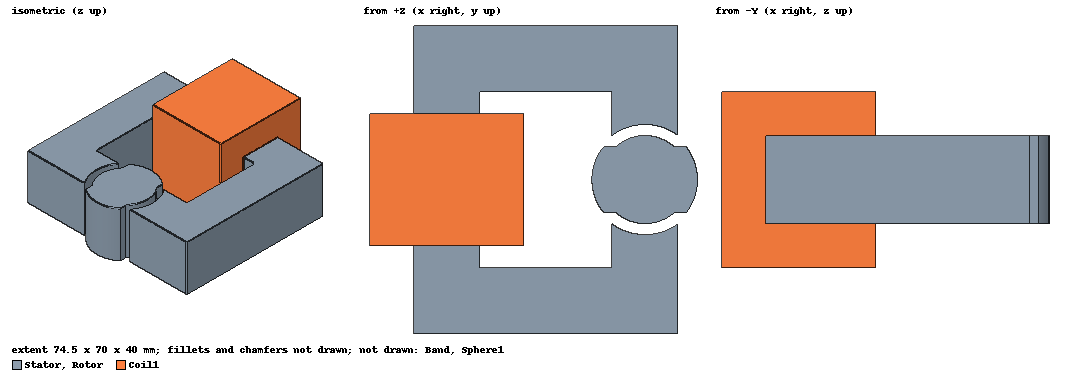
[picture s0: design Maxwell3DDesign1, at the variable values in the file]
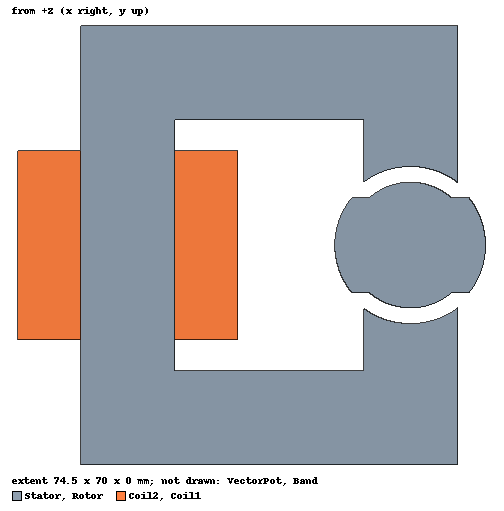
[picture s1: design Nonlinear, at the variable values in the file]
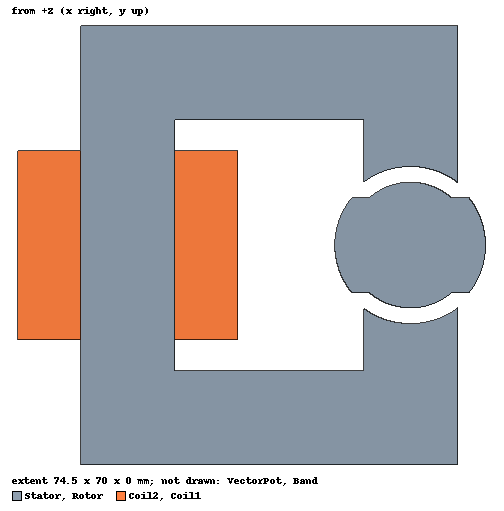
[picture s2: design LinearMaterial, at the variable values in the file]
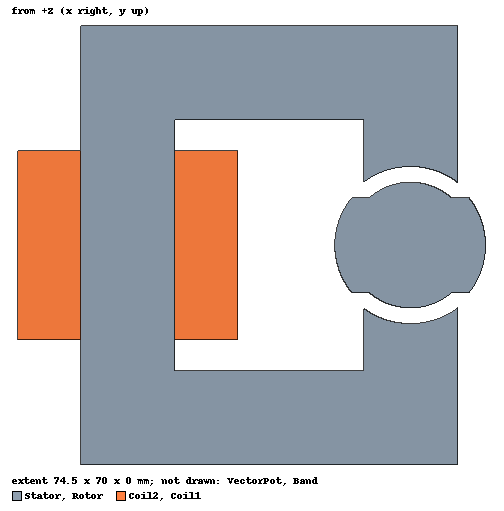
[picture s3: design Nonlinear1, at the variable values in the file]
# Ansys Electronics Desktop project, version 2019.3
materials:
  vacuum: permittivity=1
  copper: permeability=0.999991 conductivity=58000000
  m270-35a: permeability{HUnit=A_per_meter BUnit=tesla curve (0, 0) (30, 0.1) (39.6, 0.2) (46, 0.3) (52, 0.4) (58.2, 0.5) (65.2, 0.6) (73.3, 0.7) (83.1, 0.8) (95.5, 0.9) (112, 1) (136, 1.1) (178, 1.2) (272, 1.3) (596, 1.4) (1700, 1.5) (3880, 1.6) (7160, 1.7) (11600, 1.8)} conductivity=1/52*1e8
  m270-35a-lin: permeability{HUnit=A_per_meter BUnit=tesla curve (0, 0) (30, 0.1) (39.6, 0.2) (46, 0.3) (52, 0.4) (58.2, 0.5) (65.2, 0.6) (73.3, 0.7) (83.1, 0.8) (95.5, 0.9) (112, 1) (136, 1.1) (178, 1.2) (272, 1.3) (596, 1.4) (1700, 1.5) (3880, 1.6) (7160, 1.7) (11600, 1.8)} conductivity=1/52*1e8
  m270-35a-lin1: permeability=5000 conductivity=1/52*1e8

design Maxwell3DDesign1 (Maxwell 3D, Transient, model units mm)
options: ComputeTransientInductance Multiplier=1
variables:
  angle = 90deg
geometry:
  Stator [m270-35a-lin] = rectangle(corner=(0mm, 0mm, 0mm), x_size=60mm, y_size=70mm)
  Rectangle2 = rectangle(corner=(15mm, 15mm, 0mm), x_size=30mm, y_size=40mm)
  Stator.subtract(Rectangle2)
  Circle1 = circle(normal=Z, centre=(52.5mm, 35mm, 0mm), radius=12.5mm)
  Stator.subtract(Circle1)
  Circle2 = circle(normal=Z, centre=(52.5mm, 35mm, 0mm), radius=12mm)
  Rectangle3 = rectangle(corner=(45mm, 50mm, 0mm), x_size=15mm, y_size=-31.25mm)
  Circle2.intersect(Rectangle3)
  Rotor [m270-35a-lin] = circle(normal=Z, centre=(52.5mm, 35mm, 0mm), radius=10mm)
  Rotor.unite(Circle2)
  Coil1 [copper] = rectangle(corner=(0mm, 20mm, 0mm), x_size=-10mm, y_size=30mm)
  Coil2 = Coil1.duplicate_mirror(point=(0mm, 20mm, 0mm), normal=(1mm, 0mm, 0mm))
  Coil2.move(15mm, 0mm, 0mm)
  coordinate_system RelativeCS1 = origin=(52.5mm, 35mm, 0mm) x=(1mm, 0mm, 0mm) y=(0mm, 1mm, 0mm)
  Rotor.rotate(axis=Z, angle=angle) in RelativeCS1
  Band [vacuum] = circle(normal=Z, centre=(0mm, 0mm, 0mm), radius=12.206556mm) in RelativeCS1
  [Stator, Rotor, Coil1, Coil2].sweep_along_vector((0meter, 0meter, 20mm))
  Band.sweep_along_vector((0meter, 0meter, 25mm))
  Box1 = box(corner=(25mm, 50mm, 20mm), size=(-35mm, -30mm, 10mm))
  Box1_1 = Box1.duplicate_along_line(step=(0mm, 0mm, -30mm), total=2)
  Coil1.unite(Box1, Coil2, Box1_1)
  Coil1.fillet(Edges=Coil1.edge(3 of 12, 7 of 12, 5 of 12, 1 of 12) Radius=10mm Setback=0mm)
  Rectangle4 = rectangle(corner=(7.5mm, 20mm, 30mm), y_size=30mm, z_size=-10mm)
  Sphere1 [vacuum] = sphere(centre=(0mm, 0mm, 0mm), radius=134.53624mm)
  Band.move(0mm, 0mm, -2.5mm)
  coordinate_system RelativeCS2 = origin=(52.5mm, 35mm, 22.5mm) x=(1mm, 0mm, 0mm) y=(0mm, 1mm, 0mm)
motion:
  MotionSetup1: Band Move_Type=Rotate Coordinate_System=RelativeCS2 Axis=Z Is_Positive=true InitPos=45deg Angular_Velocity=0rpm Moment_of_Inertia=0.0001 Damping=0 Load_Torque=0NewtonMeter Objects=Band
  Moving1: Moving Objects=Rotor
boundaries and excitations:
  ZeroTangentialHField1: Zero Tangential H Field Faces=Sphere1.face(1 of 1)
  CoilTerminal1: Coil Terminal Objects=Rectangle4 Conductor_number=250 Winding=Winding1 Point_out_of_terminal=false
  Winding1: Winding Group Type=Current IsSolid=false Current=3A ParallelBranchesNum=1
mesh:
  SurfApprox1: SurfApproxBased Objects=[Stator, Rotor, Coil1, Band, Rectangle4] CurvedSurfaceApproxChoice=UseSlider SliderMeshSettings=8
  Length1: LengthBased RefineInside Objects=[Stator, Rotor, Coil1, Band, Rectangle4] MaxLength=5mm
  CylindricalGap1: CylindricalGap BandMappingAngle=3deg MovingSideLayers=1 StaticSideLayers=1 Objects=Band
  initial mesh: GlobalCurvilinear{Apply}
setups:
  Setup1: Transient NonlinearSolverResidual=0.005 ScalarPotential="Second Order" StopTime=3s TimeStep="(3/600) s" SaveFieldsType="Every N Steps" N_Steps=1 Steps_From=0s Steps_To=3s NumberSolveSteps=1 RangeStart=0s RangeEnd=0.1s
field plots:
  Mesh1: MeshPlots on Setup1 : Transient at Time=-1s
  Mesh2: MeshPlots on Setup1 : Transient at Time=0s
  B_Vector1, Mag_B1: B on Setup1 : Transient at Time=0s
  J_Vector1: J over Rectangle4.face on Setup1 : Transient at Time=0s
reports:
  Torque Plot 1: Moving1.Torque vs Time on Setup1 : Transient; markers m1 at 295ms
  Winding Plot 1: L(Winding1,Winding1) vs Time on Setup1 : Transient
  Speed Plot 1: Moving1.Speed vs Time on Setup1 : Transient

design Nonlinear (Maxwell 2D, Transient, XY geometry, model units mm)
options: ComputeTransientInductance ModelDepth=20mm Multiplier=1
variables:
  t_stop = 3s
  t_step = t_stop/600
  angle = 90deg
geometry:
  Stator [m270-35a] = rectangle(corner=(0mm, 0mm, 0mm), x_size=60mm, y_size=70mm)
  Rectangle2 = rectangle(corner=(15mm, 15mm, 0mm), x_size=30mm, y_size=40mm)
  Stator.subtract(Rectangle2)
  point Point1 = (52.5mm, 35mm, 0mm)
  Circle1 = circle(normal=Z, centre=(52.5mm, 35mm, 0mm), radius=12.5mm)
  Stator.subtract(Circle1)
  Circle2 = circle(normal=Z, centre=(52.5mm, 35mm, 0mm), radius=12mm)
  Rectangle3 = rectangle(corner=(45mm, 50mm, 0mm), x_size=15mm, y_size=-31.25mm)
  Circle2.intersect(Rectangle3)
  Rotor [m270-35a] = circle(normal=Z, centre=(52.5mm, 35mm, 0mm), radius=10mm)
  Rotor.unite(Circle2)
  Coil1 [copper] = rectangle(corner=(0mm, 20mm, 0mm), x_size=-10mm, y_size=30mm)
  Coil2 [copper] = Coil1.duplicate_mirror(point=(0mm, 20mm, 0mm), normal=(1mm, 0mm, 0mm))
  Coil2.move(15mm, 0mm, 0mm)
  VectorPot [vacuum] = circle(normal=Z, centre=(30mm, 35mm, 0mm), radius=67.082039mm)
  coordinate_system RelativeCS1 = origin=(52.5mm, 35mm, 0mm) x=(1mm, 0mm, 0mm) y=(0mm, 1mm, 0mm)
  Rotor.rotate(axis=Z, angle=angle) in RelativeCS1
  Band [vacuum] = circle(normal=Z, centre=(0mm, 0mm, 0mm), radius=12.206556mm) in RelativeCS1
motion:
  MotionSetup1: Band Move_Type=Rotate Coordinate_System=RelativeCS1 Axis=Z Is_Positive=true InitPos=angle-45deg Angular_Velocity=0rpm Moment_of_Inertia=0.0001 Damping=0 Load_Torque=0NewtonMeter Objects=Band
  Moving1: Moving Objects=Rotor
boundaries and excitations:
  VectorPotential1: Vector Potential Edges=VectorPot.edge(1 of 1) Value=0
  Coil2: Coil Objects=Coil2 Conductor_number=250 Winding=Winding1 PolarityType=Negative
  Coil1: Coil Objects=Coil1 Conductor_number=250 Winding=Winding1 PolarityType=Positive
  Winding1: Winding Group Type=Current IsSolid=false Current=3A ParallelBranchesNum=1
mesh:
  Length1: LengthBased Objects=[Coil1, Coil2, Rotor, Stator] MaxLength=3mm
  SurfApprox1: SurfApproxBased Objects=[Coil1, Stator, Coil2, Rotor] CurvedSurfaceApproxChoice=UseSlider SliderMeshSettings=9
  initial mesh: MeshMethod=AnsoftTAU
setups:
  Setup1: Transient NonlinearSolverResidual=1e-07 StopTime=t_stop TimeStep=t_step SaveFieldsType="Every N Steps" N_Steps=1 Steps_From=0s Steps_To=t_stop NumberSolveSteps=1 RangeStart=0s RangeEnd=0.1s InitialTimeStep=0.002s MinTimeStep=0.001s MaxTimeStep=0.003s TimeStepErrTolerance=0.0001
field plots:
  Mesh1: MeshPlots over Stator, Rotor, Coil1, Coil2, VectorPot on Setup1 : Transient at Time=-1
  Mag_B1, B_Vector1: B over Stator, Rotor, Coil1, Coil2, VectorPot on Setup1 : Transient at Time=-1
  Flux_Lines1: A over Stator, Rotor, Coil1, Coil2, VectorPot, Band on Setup1 : Transient at Time=-1
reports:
  Torque Plot 1: Moving1.Torque vs Time on Setup1 : Transient [t_stop=all]
  Winding Plot 1: L(Winding1,Winding1) vs Time on Setup1 : Transient
  Speed Plot 1: Moving1.Speed vs Time on Setup1 : Transient

design LinearMaterial (Maxwell 2D, Transient, XY geometry, model units mm)
options: ComputeTransientInductance ModelDepth=20mm Multiplier=1
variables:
  t_stop = 3s
  t_step = t_stop/600
  angle = 90deg
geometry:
  Stator [m270-35a-lin1] = rectangle(corner=(0mm, 0mm, 0mm), x_size=60mm, y_size=70mm)
  Rectangle2 = rectangle(corner=(15mm, 15mm, 0mm), x_size=30mm, y_size=40mm)
  Stator.subtract(Rectangle2)
  point Point1 = (52.5mm, 35mm, 0mm)
  Circle1 = circle(normal=Z, centre=(52.5mm, 35mm, 0mm), radius=12.5mm)
  Stator.subtract(Circle1)
  Circle2 = circle(normal=Z, centre=(52.5mm, 35mm, 0mm), radius=12mm)
  Rectangle3 = rectangle(corner=(45mm, 50mm, 0mm), x_size=15mm, y_size=-31.25mm)
  Circle2.intersect(Rectangle3)
  Rotor [m270-35a-lin1] = circle(normal=Z, centre=(52.5mm, 35mm, 0mm), radius=10mm)
  Rotor.unite(Circle2)
  Coil1 [copper] = rectangle(corner=(0mm, 20mm, 0mm), x_size=-10mm, y_size=30mm)
  Coil2 [copper] = Coil1.duplicate_mirror(point=(0mm, 20mm, 0mm), normal=(1mm, 0mm, 0mm))
  Coil2.move(15mm, 0mm, 0mm)
  VectorPot [vacuum] = circle(normal=Z, centre=(30mm, 35mm, 0mm), radius=67.082039mm)
  coordinate_system RelativeCS1 = origin=(52.5mm, 35mm, 0mm) x=(1mm, 0mm, 0mm) y=(0mm, 1mm, 0mm)
  Rotor.rotate(axis=Z, angle=angle) in RelativeCS1
  Band [vacuum] = circle(normal=Z, centre=(0mm, 0mm, 0mm), radius=12.206556mm) in RelativeCS1
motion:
  MotionSetup1: Band Move_Type=Rotate Coordinate_System=RelativeCS1 Axis=Z Is_Positive=true InitPos=angle-45deg Angular_Velocity=0rpm Moment_of_Inertia=0.0001 Damping=0 Load_Torque=0NewtonMeter Objects=Band
  Moving1: Moving Objects=Rotor
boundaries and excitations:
  VectorPotential1: Vector Potential Edges=VectorPot.edge(1 of 1) Value=0
  Rectangle4: Coil Objects=Coil1 Conductor_number=250 Winding=Winding1 PolarityType=Positive
  Rectangle4_1: Coil Objects=Coil2 Conductor_number=250 Winding=Winding1 PolarityType=Negative
  Winding1: Winding Group Type=Current IsSolid=false Current=3A ParallelBranchesNum=1
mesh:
  Length1: LengthBased Objects=[Coil1, Coil2, Rotor, Stator] MaxLength=3mm
  SurfApprox1: SurfApproxBased Objects=[Coil1, Stator, Coil2, Rotor] CurvedSurfaceApproxChoice=UseSlider SliderMeshSettings=9
  initial mesh: MeshMethod=AnsoftTAU
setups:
  Setup1: Transient NonlinearSolverResidual=1e-07 StopTime=t_stop TimeStep=t_step SaveFieldsType="Every N Steps" N_Steps=1 Steps_From=0s Steps_To=t_stop NumberSolveSteps=1 RangeStart=0s RangeEnd=0.1s InitialTimeStep=0.002s MinTimeStep=0.001s MaxTimeStep=0.003s TimeStepErrTolerance=0.0001
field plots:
  Mesh1: MeshPlots over Stator, Rotor, Coil1, Coil2, VectorPot on Setup1 : Transient at Time=-1
  Mag_B1: B over Stator, Rotor, Coil1, Coil2, VectorPot, Band on Setup1 : Transient at Time=-1
  B_Vector1: B over Stator, Rotor, Coil1, Coil2, VectorPot on Setup1 : Transient at Time=-1
  Flux_Lines1: A over Stator, Rotor, Coil1, Coil2, VectorPot, Band on Setup1 : Transient at Time=-1
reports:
  Torque Plot 1: Moving1.Torque vs Time on Setup1 : Transient [t_stop=all]; markers m1 at 0.775s
  Winding Plot 1: L(Winding1,Winding1) vs Time on Setup1 : Transient
  Speed Plot 1: Moving1.Speed vs Time on Setup1 : Transient

design Nonlinear1 (Maxwell 2D, Transient, XY geometry, model units mm)
options: ComputeTransientInductance ModelDepth=20mm Multiplier=1
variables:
  t_stop = 3s
  t_step = t_stop/600
  angle = 90deg
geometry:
  Stator [m270-35a] = rectangle(corner=(0mm, 0mm, 0mm), x_size=60mm, y_size=70mm)
  Rectangle2 = rectangle(corner=(15mm, 15mm, 0mm), x_size=30mm, y_size=40mm)
  Stator.subtract(Rectangle2)
  point Point1 = (52.5mm, 35mm, 0mm)
  Circle1 = circle(normal=Z, centre=(52.5mm, 35mm, 0mm), radius=12.5mm)
  Stator.subtract(Circle1)
  Circle2 = circle(normal=Z, centre=(52.5mm, 35mm, 0mm), radius=12mm)
  Rectangle3 = rectangle(corner=(45mm, 50mm, 0mm), x_size=15mm, y_size=-31.25mm)
  Circle2.intersect(Rectangle3)
  Rotor [m270-35a] = circle(normal=Z, centre=(52.5mm, 35mm, 0mm), radius=10mm)
  Rotor.unite(Circle2)
  Coil1 [copper] = rectangle(corner=(0mm, 20mm, 0mm), x_size=-10mm, y_size=30mm)
  Coil2 [copper] = Coil1.duplicate_mirror(point=(0mm, 20mm, 0mm), normal=(1mm, 0mm, 0mm))
  Coil2.move(15mm, 0mm, 0mm)
  VectorPot [vacuum] = circle(normal=Z, centre=(30mm, 35mm, 0mm), radius=67.082039mm)
  coordinate_system RelativeCS1 = origin=(52.5mm, 35mm, 0mm) x=(1mm, 0mm, 0mm) y=(0mm, 1mm, 0mm)
  Rotor.rotate(axis=Z, angle=angle) in RelativeCS1
  Band [vacuum] = circle(normal=Z, centre=(0mm, 0mm, 0mm), radius=12.206556mm) in RelativeCS1
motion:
  MotionSetup1: Band Move_Type=Rotate Coordinate_System=RelativeCS1 Axis=Z Is_Positive=true InitPos=angle-45deg Angular_Velocity=0rpm Moment_of_Inertia=0.0001 Damping=0 Load_Torque=0NewtonMeter Objects=Band
  Moving1: Moving Objects=Rotor
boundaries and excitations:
  VectorPotential1: Vector Potential Edges=VectorPot.edge(1 of 1) Value=0
  Rectangle4: Coil Objects=Coil1 Conductor_number=250 Winding=Winding1 PolarityType=Positive
  Rectangle4_1: Coil Objects=Coil2 Conductor_number=250 Winding=Winding1 PolarityType=Negative
  Winding1: Winding Group Type=Current IsSolid=false Current=3A ParallelBranchesNum=1
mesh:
  Length1: LengthBased Objects=[Coil1, Coil2, Rotor, Stator] MaxLength=3mm
  SurfApprox1: SurfApproxBased Objects=[Coil1, Stator, Coil2, Rotor] CurvedSurfaceApproxChoice=UseSlider SliderMeshSettings=9
  initial mesh: MeshMethod=AnsoftTAU
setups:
  Setup1: Transient NonlinearSolverResidual=1e-07 StopTime=t_stop TimeStep=t_step SaveFieldsType="Every N Steps" N_Steps=1 Steps_From=0s Steps_To=t_stop NumberSolveSteps=1 RangeStart=0s RangeEnd=0.1s InitialTimeStep=0.002s MinTimeStep=0.001s MaxTimeStep=0.003s TimeStepErrTolerance=0.0001
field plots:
  Mesh1: MeshPlots over Stator, Rotor, Coil1, Coil2, VectorPot on Setup1 : Transient at Time=55000000ns
  Mag_B1: B over Stator, Rotor, Coil1, Coil2, VectorPot on Setup1 : Transient at Time=55000000ns
  B_Vector1: B over Stator, Rotor, Coil1, Coil2, VectorPot on Setup1 : Transient at Time=140000000ns
  Flux_Lines1: A over Stator, Rotor, Coil1, Coil2, VectorPot, Band on Setup1 : Transient at Time=140000000ns
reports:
  Torque Plot 1: Moving1.Torque vs Time on Setup1 : Transient [t_stop=all]
  Winding Plot 1: L(Winding1,Winding1) vs Time on Setup1 : Transient
  Speed Plot 1: Moving1.Speed vs Time on Setup1 : Transient
